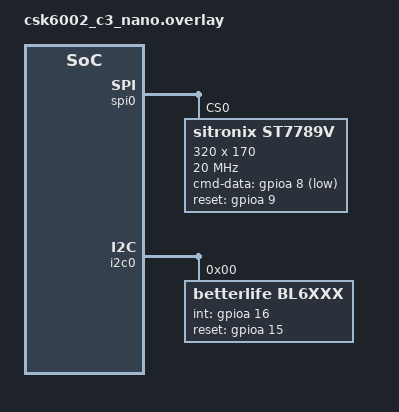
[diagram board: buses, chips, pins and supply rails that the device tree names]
&csk6002_c3_nano_pinctrl{
                pinctrl_i2c0_scl_default: i2c0_scl_default{
                        pinctrls = <&pinmuxa 4 8>;
                };
                
                pinctrl_i2c0_sda_default: i2c0_sda_default{
                        pinctrls = <&pinmuxa 5 8>;
                };    

                pinctrl_spi0_sclk_default: spi0_sclk_default {
                        pinctrls = < &pinmuxa 19 6 >;
                };
                pinctrl_spi0_mosi_default: spi0_mosi_default {
                        pinctrls = < &pinmuxa 18 6 >;
                };
                pinctrl_spi0_miso_default: spi0_miso_default {
                        pinctrls = < &pinmuxa 17 6 >;
                };
                pinctrl_spi0_cs_default: spi0_cs_default {
                        pinctrls = < &pinmuxa 20 6 >;
                }; 
};

&spi0 {
    status = "okay";
    pinctrl-0 = <&pinctrl_spi0_sclk_default &pinctrl_spi0_mosi_default &pinctrl_spi0_miso_default &pinctrl_spi0_cs_default>; 
    pinctrl-names = "default";
    
	st7789v@0 {
            compatible = "sitronix,st7789v";
            label = "ST7789V";
            status = "okay";
            spi-max-frequency = <20000000>;
            reg = <0>;
            cmd-data-gpios = <&gpioa 8 1>;
            reset-gpios = <&gpioa 9 0>;
            width = <320>;
            height = <170>;
            x-offset = <0>;
            y-offset = <35>;
            // reg:0xBB
            vcom = <0x1e>;
            // reg:0xB7
            gctrl = <0x35>;
            // reg:0xC3
            vrhs = <0x0b>;
            // reg:0xC4
            vdvs = <0x20>;
            // reg:0x36
            mdac = <0xA3>;
            // reg:0x26
            gamma = <0x01>;
            // reg:0x3a
            colmod = <0x05>;
            // reg:0xc0
            lcm = <0x2c>;
            // reg:0xb2
            porch-param = [0c 0c 00 33 33];
            // reg:0xDF
            cmd2en-param = [5a 69 02 01];
            // reg:0xD0
            pwctrl1-param = [a4 a1];
            // reg:0xE0
            pvgam-param = [d0 06 0b 07 07 24 2e 32 46 37 13 13 2d 33];
            // reg:0xE1
            nvgam-param = [d0 02 06 09 08 05 29 44 42 38 14 14 2a 30];
            // reg:b0
            ram-param = [00 F0];
            // reg:b1
            rgb-param = [CD 08 14];
	};
};

&i2c0 {
        status = "okay";
        pinctrl-0 = <&pinctrl_i2c0_scl_default &pinctrl_i2c0_sda_default>; 
        pinctrl-names = "default";
        bl6xxx@0 {
                compatible = "betterlife,bl6xxx";
                reg = <0>;
                label = "BL6XXX";
                status = "okay";
                int-gpios = <&gpioa 16 0>;
                reset-gpios = <&gpioa 15 0>;
        };
};

